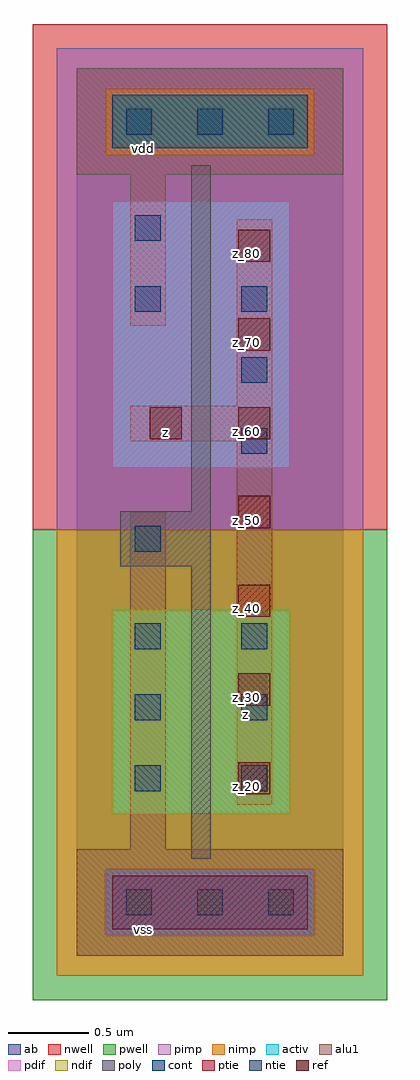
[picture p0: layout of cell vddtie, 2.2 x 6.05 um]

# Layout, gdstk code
import gdstk
lib = gdstk.Library(unit=1e-6, precision=2.5e-09)
def R(c, l, rs):  # rectangles x0, y0, x1, y1
    for r in rs: c.add(gdstk.rectangle(r[:2], r[2:], *l))
def A(c, l, x, y, w, h, nx, ny, dx, dy):  # array of equal rectangles
    R(c, l, [(x+i*dx, y+j*dy, x+i*dx+w, y+j*dy+h) for i in range(nx) for j in range(ny)])
ndif = (3, 0)
pdif = (4, 0)
ntie = (5, 0)
ptie = (6, 0)
ref = (24, 0)
cont = (25, 0)
pwell = (41, 0)
nwell = (42, 0)
activ = (43, 0)
pimp = (44, 0)
nimp = (45, 0)
poly = (46, 0)
alu1 = (49, 0)
ab = (63, 0)

vddtie = lib.new_cell('vddtie')
R(vddtie, ndif, [(0.22,0.88,1.32,2.145)])
R(vddtie, pdif, [(0.22,3.025,1.32,4.675)])
R(vddtie, ntie, [(0.22,5.005,1.43,5.335)])
R(vddtie, ptie, [(0.22,0.165,1.43,0.495)])
A(vddtie, ref, 1, 1, 0.2, 0.2, 1, 7, 0, 0.55)
R(vddtie, ref, [(0.45,3.2,0.65,3.4)])
A(vddtie, cont, 0.305, 0.25, 0.16, 0.16, 3, 2, 0.44, 4.84)
A(vddtie, cont, 0.36, 1.02, 0.16, 0.16, 1, 3, 0, 0.44)
A(vddtie, cont, 1.02, 1.02, 0.16, 0.16, 1, 3, 0, 0.44)
A(vddtie, cont, 1.02, 3.11, 0.16, 0.16, 1, 3, 0, 0.44)
R(vddtie, cont, [(0.36,2.505,0.52,2.665), (0.36,3.99,0.52,4.15), (0.36,4.43,0.52,4.59)])
R(vddtie, pwell, [(-0.275,-0.275,1.925,2.64)])
R(vddtie, nwell, [(-0.275,2.64,1.925,5.775)])
R(vddtie, activ, [(0.22,0.165,1.43,0.495), (0.22,0.88,1.32,2.145), (0.22,3.025,1.32,4.675), (0.22,5.005,1.43,5.335)])
R(vddtie, pimp, [(0.18,0.125,1.47,0.535), (-0.125,2.64,1.775,4.965), (-0.125,4.965,0.18,5.375), (1.47,4.965,1.775,5.375), (-0.125,5.375,1.775,5.625)])
R(vddtie, nimp, [(-0.125,-0.125,1.775,0.125), (-0.125,0.125,0.18,0.535), (1.47,0.125,1.775,0.535), (-0.125,0.535,1.775,2.64), (0.18,4.965,1.47,5.375)])
R(vddtie, poly, [(0.71,0.6,0.83,2.415), (0.27,2.415,0.83,2.755), (0.71,2.755,0.83,4.9)])
R(vddtie, alu1, [(0,0,1.65,0.66), (0.33,0.66,0.55,2.75), (0.99,0.935,1.21,3.19), (0.33,3.19,1.21,3.41), (0.99,3.41,1.21,4.565), (0.33,3.905,0.55,4.84), (0,4.84,1.65,5.5)])
R(vddtie, ab, [(0,0,1.65,5.5)])
vddtie.add(gdstk.Label('vss', (0.4125,0.165), layer=49, texttype=0))
vddtie.add(gdstk.Label('z', (1.045,1.4975), layer=49, texttype=0))
vddtie.add(gdstk.Label('z', (0.55,3.245), layer=49, texttype=0))
vddtie.add(gdstk.Label('vdd', (0.4125,5.005), layer=49, texttype=0))
vddtie.add(gdstk.Label('z_60', (0.5,3.25), layer=24, texttype=0))
vddtie.add(gdstk.Label('z_80', (1.05,4.35), layer=24, texttype=0))
vddtie.add(gdstk.Label('z_70', (1.05,3.8), layer=24, texttype=0))
vddtie.add(gdstk.Label('z_60', (1.05,3.25), layer=24, texttype=0))
vddtie.add(gdstk.Label('z_50', (1.05,2.7), layer=24, texttype=0))
vddtie.add(gdstk.Label('z_40', (1.05,2.15), layer=24, texttype=0))
vddtie.add(gdstk.Label('z_30', (1.05,1.6), layer=24, texttype=0))
vddtie.add(gdstk.Label('z_20', (1.05,1.05), layer=24, texttype=0))

lib.write_gds('vddtie.gds')
